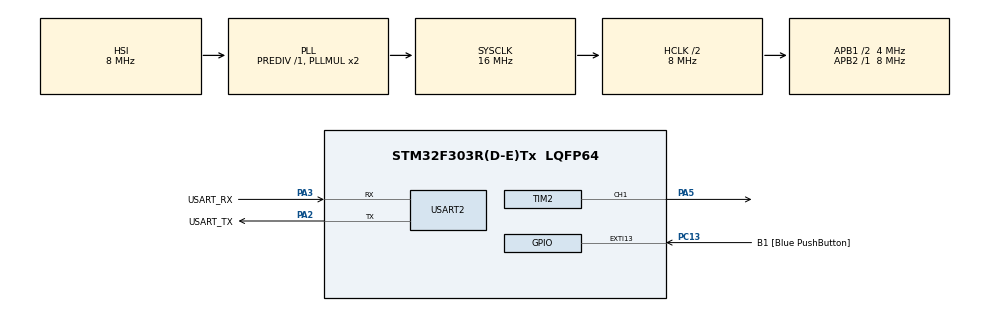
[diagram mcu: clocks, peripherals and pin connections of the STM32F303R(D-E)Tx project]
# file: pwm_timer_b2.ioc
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Mcu.Family=STM32F3
Mcu.Name=STM32F303R(D-E)Tx
Mcu.Package=LQFP64
NVIC.PriorityGroup=NVIC_PRIORITYGROUP_0
NVIC.TIM2_IRQn=true\:0\:0\:false\:false\:true\:true\:true\:true
PA13.GPIO_Label=TMS
PA13.Mode=Serial_Wire
PA13.Signal=SYS_JTMS-SWDIO
PA14.GPIO_Label=TCK
PA14.Mode=Serial_Wire
PA14.Signal=SYS_JTCK-SWCLK
PA2.GPIO_Label=USART_TX
PA2.GPIO_Mode=GPIO_MODE_AF_PP
PA2.GPIO_PuPd=GPIO_NOPULL
PA2.GPIO_Speed=GPIO_SPEED_FREQ_LOW
PA2.Mode=Asynchronous
PA2.Signal=USART2_TX
PA3.GPIO_Label=USART_RX
PA3.GPIO_Mode=GPIO_MODE_AF_PP
PA3.GPIO_PuPd=GPIO_NOPULL
PA3.GPIO_Speed=GPIO_SPEED_FREQ_LOW
PA3.Mode=Asynchronous
PA3.Signal=USART2_RX
PA5.Signal=S_TIM2_CH1_ETR
PB3.GPIO_Label=SWO
PB3.Signal=SYS_JTDO-TRACESWO
PC13.GPIO_Label=B1 [Blue PushButton]
PC13.GPIO_ModeDefaultEXTI=GPIO_MODE_IT_FALLING
PC13.Signal=GPXTI13
PC14-OSC32_IN.Mode=LSE-External-Oscillator
PC14-OSC32_IN.Signal=RCC_OSC32_IN
PC15-OSC32_OUT.Mode=LSE-External-Oscillator
PC15-OSC32_OUT.Signal=RCC_OSC32_OUT
PF0-OSC_IN.Mode=HSE-External-Clock-Source
PF0-OSC_IN.Signal=RCC_OSC_IN
PF1-OSC_OUT.Signal=RCC_OSC_OUT
ProjectManager.HeapSize=0x200
ProjectManager.StackSize=0x400
ProjectManager.TargetToolchain=STM32CubeIDE
RCC.AHBCLKDivider=RCC_SYSCLK_DIV2
RCC.AHBFreq_Value=8000000
RCC.APB1CLKDivider=RCC_HCLK_DIV2
RCC.APB1Freq_Value=4000000
RCC.APB1TimFreq_Value=8000000
RCC.APB2Freq_Value=8000000
RCC.APB2TimFreq_Value=8000000
RCC.CortexFreq_Value=8000000
RCC.HCLKFreq_Value=8000000
RCC.HSE_VALUE=8000000
RCC.HSI_VALUE=8000000
RCC.PLLM=8
RCC.PLLN=336
RCC.PLLP=RCC_PLLP_DIV4
RCC.PLLQ=7
RCC.RCC_PLLsource_Clock_Source_FROM_HSE=RCC_HSE_PREDIV_DIV2
RCC.SYSCLKFreq_VALUE=16000000
RCC.SYSCLKSourceVirtual=RCC_SYSCLKSOURCE_PLLCLK
RCC.USBFreq_Value=16000000
SH.S_TIM2_CH1_ETR.0=TIM2_CH1,PWM Generation1 CH1
TIM2.Channel-PWM\ Generation1\ CH1=TIM_CHANNEL_1
TIM2.Period=100-1
TIM2.Prescaler=8000-1
USART2.VirtualMode-Asynchronous=VM_ASYNC
VP_TIM2_VS_ClockSourceINT.Mode=Internal
board=NUCLEO-F303RE

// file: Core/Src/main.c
/* USER CODE BEGIN Header */
/**
  ******************************************************************************
  * @file           : main.c
  * @brief          : Main program body
  ******************************************************************************
  * @attention
  *
  * Copyright (c) 2023 STMicroelectronics.
  * All rights reserved.
  *
  * This software is licensed under terms that can be found in the LICENSE file
  * in the root directory of this software component.
  * If no LICENSE file comes with this software, it is provided AS-IS.
  *
  ******************************************************************************
  */
/* USER CODE END Header */
#include "main.h"

TIM_HandleTypeDef htim2;

UART_HandleTypeDef huart2;

void SystemClock_Config(void);
static void MX_GPIO_Init(void);
static void MX_USART2_UART_Init(void);
static void MX_TIM2_Init(void);
/* USER CODE BEGIN PFP */
uint8_t duty= 0;
uint8_t Count= 0;
uint8_t right = 1;
/* USER CODE END PFP */

/* USER CODE BEGIN 0 */

void HAL_TIM_PeriodElapsedCallback(TIM_HandleTypeDef *htim)
{
  /* Prevent unused argument(s) compilation warning */
	Count++;
	if(htim->Instance == TIM2)
	{
		if (Count == 5)
		{
			if (right == 1)
			{
				duty++;
				__HAL_TIM_SET_COMPARE(&htim2,TIM_CHANNEL_1,duty);
				if (duty == 100)
				{
					right = 0;
				}
			}

			if (right == 0)
			{
				duty--;
				__HAL_TIM_SET_COMPARE(&htim2,TIM_CHANNEL_1,duty);
				if (duty == 0)
				{
					right = 1;
				}
			}
			Count = 0;
		}
	}
}
/* USER CODE END 0 */

int main(void)
{

  /* MCU Configuration--------------------------------------------------------*/

  /* Reset of all peripherals, Initializes the Flash interface and the Systick. */
  HAL_Init();

  /* Configure the system clock */
  SystemClock_Config();

  /* Initialize all configured peripherals */
  MX_GPIO_Init();
  MX_USART2_UART_Init();
  MX_TIM2_Init();
  /* USER CODE BEGIN 2 */
	HAL_TIM_Base_Start_IT(&htim2);
	HAL_TIM_PWM_Start(&htim2, TIM_CHANNEL_1);
  /* USER CODE END 2 */

  /* Infinite loop */
  while (1)
  {

  }
}

void SystemClock_Config(void)
{
  RCC_OscInitTypeDef RCC_OscInitStruct = {0};
  RCC_ClkInitTypeDef RCC_ClkInitStruct = {0};
  RCC_PeriphCLKInitTypeDef PeriphClkInit = {0};

  /** Initializes the RCC Oscillators according to the specified parameters
  * in the RCC_OscInitTypeDef structure.
  */
  RCC_OscInitStruct.OscillatorType = RCC_OSCILLATORTYPE_HSI;
  RCC_OscInitStruct.HSIState = RCC_HSI_ON;
  RCC_OscInitStruct.HSICalibrationValue = RCC_HSICALIBRATION_DEFAULT;
  RCC_OscInitStruct.PLL.PLLState = RCC_PLL_ON;
  RCC_OscInitStruct.PLL.PLLSource = RCC_PLLSOURCE_HSI;
  RCC_OscInitStruct.PLL.PLLMUL = RCC_PLL_MUL2;
  RCC_OscInitStruct.PLL.PREDIV = RCC_PREDIV_DIV1;
  if (HAL_RCC_OscConfig(&RCC_OscInitStruct) != HAL_OK)
  {
    Error_Handler();
  }

  /** Initializes the CPU, AHB and APB buses clocks
  */
  RCC_ClkInitStruct.ClockType = RCC_CLOCKTYPE_HCLK|RCC_CLOCKTYPE_SYSCLK
                              |RCC_CLOCKTYPE_PCLK1|RCC_CLOCKTYPE_PCLK2;
  RCC_ClkInitStruct.SYSCLKSource = RCC_SYSCLKSOURCE_PLLCLK;
  RCC_ClkInitStruct.AHBCLKDivider = RCC_SYSCLK_DIV2;
  RCC_ClkInitStruct.APB1CLKDivider = RCC_HCLK_DIV2;
  RCC_ClkInitStruct.APB2CLKDivider = RCC_HCLK_DIV1;

  if (HAL_RCC_ClockConfig(&RCC_ClkInitStruct, FLASH_LATENCY_0) != HAL_OK)
  {
    Error_Handler();
  }
  PeriphClkInit.PeriphClockSelection = RCC_PERIPHCLK_USART2|RCC_PERIPHCLK_TIM2;
  PeriphClkInit.Usart2ClockSelection = RCC_USART2CLKSOURCE_PCLK1;
  PeriphClkInit.Tim2ClockSelection = RCC_TIM2CLK_HCLK;
  if (HAL_RCCEx_PeriphCLKConfig(&PeriphClkInit) != HAL_OK)
  {
    Error_Handler();
  }
}

static void MX_TIM2_Init(void)
{

  TIM_ClockConfigTypeDef sClockSourceConfig = {0};
  TIM_MasterConfigTypeDef sMasterConfig = {0};
  TIM_OC_InitTypeDef sConfigOC = {0};

  htim2.Instance = TIM2;
  htim2.Init.Prescaler = 8000-1;
  htim2.Init.CounterMode = TIM_COUNTERMODE_UP;
  htim2.Init.Period = 100-1;
  htim2.Init.ClockDivision = TIM_CLOCKDIVISION_DIV1;
  htim2.Init.AutoReloadPreload = TIM_AUTORELOAD_PRELOAD_DISABLE;
  if (HAL_TIM_Base_Init(&htim2) != HAL_OK)
  {
    Error_Handler();
  }
  sClockSourceConfig.ClockSource = TIM_CLOCKSOURCE_INTERNAL;
  if (HAL_TIM_ConfigClockSource(&htim2, &sClockSourceConfig) != HAL_OK)
  {
    Error_Handler();
  }
  if (HAL_TIM_PWM_Init(&htim2) != HAL_OK)
  {
    Error_Handler();
  }
  sMasterConfig.MasterOutputTrigger = TIM_TRGO_RESET;
  sMasterConfig.MasterSlaveMode = TIM_MASTERSLAVEMODE_DISABLE;
  if (HAL_TIMEx_MasterConfigSynchronization(&htim2, &sMasterConfig) != HAL_OK)
  {
    Error_Handler();
  }
  sConfigOC.OCMode = TIM_OCMODE_PWM1;
  sConfigOC.Pulse = 0;
  sConfigOC.OCPolarity = TIM_OCPOLARITY_HIGH;
  sConfigOC.OCFastMode = TIM_OCFAST_DISABLE;
  if (HAL_TIM_PWM_ConfigChannel(&htim2, &sConfigOC, TIM_CHANNEL_1) != HAL_OK)
  {
    Error_Handler();
  }
  HAL_TIM_MspPostInit(&htim2);

}

static void MX_USART2_UART_Init(void)
{

  huart2.Instance = USART2;
  huart2.Init.BaudRate = 38400;
  huart2.Init.WordLength = UART_WORDLENGTH_8B;
  huart2.Init.StopBits = UART_STOPBITS_1;
  huart2.Init.Parity = UART_PARITY_NONE;
  huart2.Init.Mode = UART_MODE_TX_RX;
  huart2.Init.HwFlowCtl = UART_HWCONTROL_NONE;
  huart2.Init.OverSampling = UART_OVERSAMPLING_16;
  huart2.Init.OneBitSampling = UART_ONE_BIT_SAMPLE_DISABLE;
  huart2.AdvancedInit.AdvFeatureInit = UART_ADVFEATURE_NO_INIT;
  if (HAL_UART_Init(&huart2) != HAL_OK)
  {
    Error_Handler();
  }

}

static void MX_GPIO_Init(void)
{
  GPIO_InitTypeDef GPIO_InitStruct = {0};

  /* GPIO Ports Clock Enable */
  __HAL_RCC_GPIOC_CLK_ENABLE();
  __HAL_RCC_GPIOF_CLK_ENABLE();
  __HAL_RCC_GPIOA_CLK_ENABLE();
  __HAL_RCC_GPIOB_CLK_ENABLE();

  /*Configure GPIO pin : B1_Pin */
  GPIO_InitStruct.Pin = B1_Pin;
  GPIO_InitStruct.Mode = GPIO_MODE_IT_FALLING;
  GPIO_InitStruct.Pull = GPIO_NOPULL;
  HAL_GPIO_Init(B1_GPIO_Port, &GPIO_InitStruct);

}

void Error_Handler(void)
{
  __disable_irq();
  while (1)
  {
  }
}
